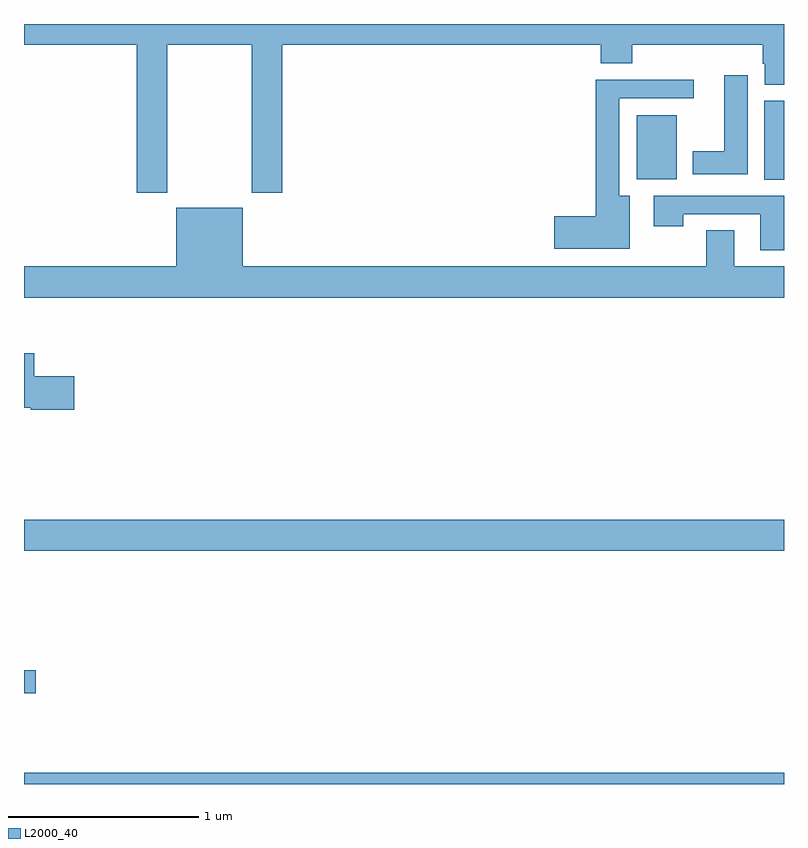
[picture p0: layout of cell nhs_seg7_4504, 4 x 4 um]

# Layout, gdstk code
import gdstk
lib = gdstk.Library(unit=1e-6, precision=1e-09)
def R(c, l, rs):  # rectangles x0, y0, x1, y1
    for r in rs: c.add(gdstk.rectangle(r[:2], r[2:], *l))
def P(c, l, *ps):  # polygons
    for p in ps: c.add(gdstk.Polygon(p, *l))
L2000_40 = (2000, 40)

nhs_seg7_4504 = lib.new_cell('nhs_seg7_4504')
R(nhs_seg7_4504, L2000_40, [(393,1054,397,1054.06), (393,1054.478,393.061,1054.6), (393,1055.228,397,1055.392), (396.896,1057.18,397,1057.596), (396.224,1057.184,396.436,1057.519)])
P(nhs_seg7_4504, L2000_40, [(393.753,1057.892),(394.198,1057.892),(394.198,1057.113),(394.358,1057.113),(394.358,1057.892),(396.035,1057.892),(396.035,1057.793),(396.2,1057.793),(396.2,1057.892),(396.887,1057.892),(396.887,1057.791),(396.899,1057.791),(396.899,1057.681),(397,1057.681),(397,1058),(393,1058),(393,1057.892),(393.593,1057.892),(393.593,1057.113),(393.753,1057.113)],
  [(396.808,1057.729),(396.686,1057.729),(396.686,1057.33),(396.521,1057.33),(396.521,1057.208),(396.808,1057.208)],
  [(396.187,1057.096),(396.133,1057.096),(396.133,1057.608),(396.526,1057.608),(396.526,1057.706),(396.008,1057.706),(396.008,1056.989),(395.79,1056.989),(395.79,1056.818),(396.187,1056.818)],
  [(397,1057.095),(396.315,1057.095),(396.315,1056.936),(396.471,1056.936),(396.471,1056.999),(396.875,1056.999),(396.875,1056.81),(397,1056.81)],
  [(397,1056.724),(396.739,1056.724),(396.739,1056.914),(396.592,1056.914),(396.592,1056.724),(394.15,1056.724),(394.15,1057.033),(393.8,1057.033),(393.8,1056.724),(393,1056.724),(393,1056.56),(397,1056.56)],
  [(393.265,1056.147),(393.053,1056.147),(393.053,1056.268),(393,1056.268),(393,1055.981),(393.036,1055.981),(393.036,1055.969),(393.265,1055.969)])

lib.write_gds('nhs_seg7_4504.gds')
